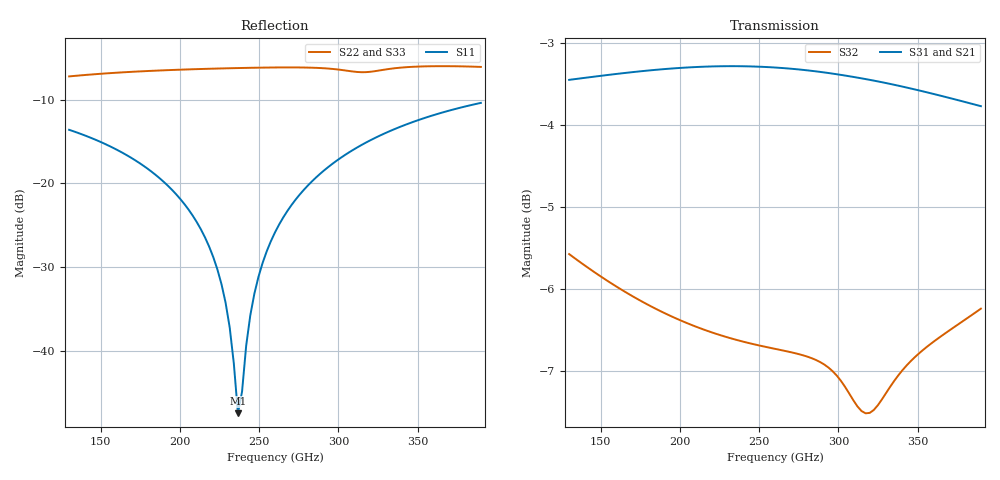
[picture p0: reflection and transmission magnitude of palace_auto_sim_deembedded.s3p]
! Created with skrf 1.11.0 (http://scikit-rf.org).
# GHz S DB R 50.0
!freq dBS11 angS11 dBS12 angS12 dBS13 angS13
! dBS21 angS21 dBS22 angS22 dBS23 angS23
! dBS31 angS31 dBS32 angS32 dBS33 angS33
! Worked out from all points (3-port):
!   101 points, 130 GHz to 390 GHz, reference 50 ohm
!   strongest paths, dB at 130 GHz, 195 GHz, 260 GHz, 325 GHz, 390 GHz:
!     S31: -3.4, -3.3, -3.3, -3.5, -3.8
!     S21: -3.5, -3.3, -3.3, -3.5, -3.8
!     S32: -5.6, -6.3, -6.7, -7.4, -6.2
!   lowest |S11| = -47.5 dB at 236.6 GHz (marker M1), VSWR 1.01, Z = 50.3 + j0.31 ohm
!   |S11| at or under -10 dB: start of sweep to end of sweep
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130  -13.60 143.6  -3.46 -41.5  -3.45 -41.4
     -3.46 -41.5  -7.21 53.1  -5.57 -98.9
     -3.45 -41.4  -5.57 -98.9  -7.23 53.1
179.4  -18.23 129.0  -3.35 -58.0  -3.34 -58.0
       -3.35 -58.0  -6.57 28.8  -6.19 -131.6
       -3.34 -58.0  -6.19 -131.6  -6.59 28.7
210.6  -24.63 118.0  -3.30 -68.8  -3.29 -68.8
       -3.30 -68.8  -6.34 16.0  -6.46 -151.7
       -3.29 -68.8  -6.46 -151.7  -6.37 15.9
228.8  -34.28 104.9  -3.30 -75.1  -3.28 -75.1
       -3.30 -75.1  -6.24 9.1  -6.58 -163.3
       -3.28 -75.1  -6.58 -163.3  -6.27 9.1
234  -41.55 87.3  -3.30 -76.9  -3.28 -76.9
     -3.30 -76.9  -6.22 7.2  -6.61 -166.6
     -3.28 -76.9  -6.61 -166.6  -6.25 7.1
236.6  -47.51 47.1  -3.30 -77.8  -3.28 -77.8
       -3.30 -77.8  -6.21 6.3  -6.63 -168.3
       -3.28 -77.8  -6.63 -168.3  -6.24 6.2
247  -33.18 -58.7  -3.30 -81.5  -3.29 -81.5
     -3.30 -81.5  -6.17 2.4  -6.68 -175.0
     -3.29 -81.5  -6.68 -175.0  -6.20 2.4
260  -25.87 -68.3  -3.31 -86.0  -3.30 -86.1
     -3.31 -86.0  -6.14 -2.3  -6.73 176.6
     -3.30 -86.1  -6.73 176.6  -6.17 -2.4
306.8  -16.29 -84.8  -3.42 -102.4  -3.40 -102.4
       -3.42 -102.4  -6.56 -19.1  -7.27 145.9
       -3.40 -102.4  -7.27 145.9  -6.60 -19.2
390  -10.38 -108.8  -3.79 -130.3  -3.77 -130.5
     -3.79 -130.3  -6.07 -49.5  -6.24 97.6
     -3.77 -130.5  -6.24 97.6  -6.11 -49.6
